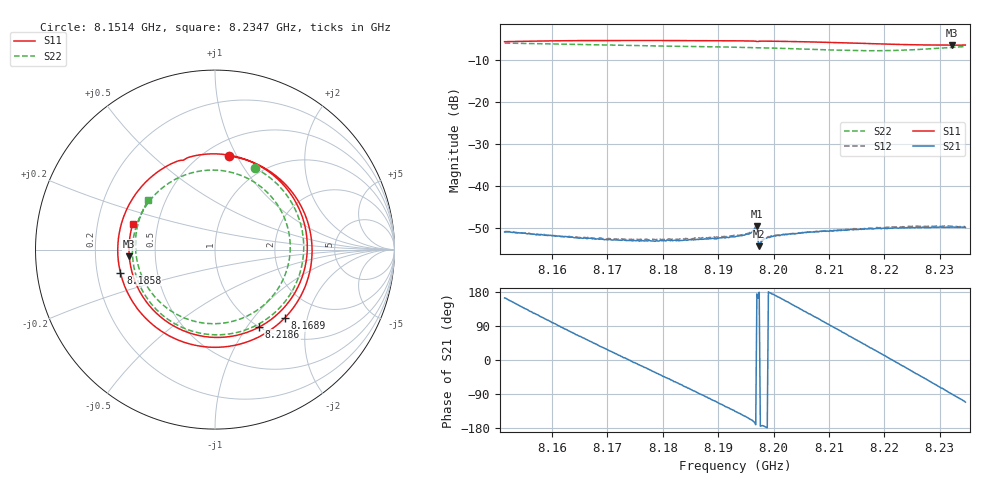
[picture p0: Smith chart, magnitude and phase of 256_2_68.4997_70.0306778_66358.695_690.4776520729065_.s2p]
#  HZ  S  RI  R  50.00
! Rohde & Schwarz Vector Network Analyzer
! Rohde-Schwarz,ZNB20-2Port,1311601062101988,3.16
! Created: UTC 3/20/2024, 5:00:03 PM
! freq[Hz]  re:S11  im:S11  re:S21  im:S21  re:S12  im:S12  re:S22  im:S22
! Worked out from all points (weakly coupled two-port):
!   401 points, 8.1514 GHz to 8.2347 GHz, reference 50 ohm
!   highest |S21| = -49.48 dB at 8.197 GHz (marker M1); lowest = -54.3 dB at 8.1974 GHz (marker M2)
!   lowest |S11| = -6.4 dB at 8.2322 GHz (marker M3), VSWR 2.84, Z = 17.6 - j1.67 ohm
!   |S11| at or under -10 dB: nowhere
!   |S22| runs from -7.7 to -5.9 dB; largest |S21 - S12| = 0.00026
!   S11 on the Smith chart (normalised r, x): 8.1514 GHz: 0.65, +0.93; 8.1689 GHz: 1.36, -1.47; 8.1858 GHz: 0.30, -0.11; 8.2186 GHz: 1.00, -1.14; 8.2347 GHz: 0.36, +0.13
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8.15141e9  0.0806 0.5205  -0.00274 0.000798  -0.00275 0.000846  0.2208 0.4551
8.158487e9  0.4655 0.2674  -0.00092 0.00245  -0.000921 0.00252  0.4831 0.1175
8.162025e9  0.5387 0.0435  0.000253 0.00249  0.000301 0.0025  0.4826 -0.0952
8.165355e9  0.5127 -0.1773  0.0012 0.00209  0.00124 0.00212  0.4014 -0.275
8.168894e9  0.3896 -0.3796  0.00193 0.00134  0.00195 0.00141  0.2477 -0.4124
8.174305e9  0.0664 -0.5405  0.00225 -0.000118  0.00234 -0.00014  -0.053 -0.4706
8.1793e9  -0.2648 -0.4752  0.00176 -0.00136  0.00181 -0.00142  -0.3063 -0.3535
8.185752e9  -0.5272 -0.1279  0.000314 -0.0023  0.00029 -0.00241  -0.4595 -0.0371
8.189291e9  -0.5283 0.117  -0.000712 -0.00226  -0.000857 -0.00234  -0.4299 0.1559
8.193037e9  -0.4109 0.3493  -0.00178 -0.00175  -0.00189 -0.00179  -0.3134 0.3267
8.196575e9  -0.208 0.4933  -0.00296 -0.000828  -0.00305 -0.000722  -0.1424 0.424
8.196991e9  -0.1782 0.4979  -0.00334 0.000322  -0.00342 0.000418  -0.1198 0.4301
8.197408e9  -0.1593 0.5088  -0.00193 3.91e-05  -0.00196 9.87e-05  -0.097 0.4353
8.201987e9  0.1615 0.5054  -0.00244 0.00102  -0.0024 0.00114  0.1584 0.4077
8.206982e9  0.4346 0.2905  -0.00132 0.00253  -0.00124 0.00255  0.3691 0.2147
8.212601e9  0.5021 -0.0953  0.000917 0.00287  0.000972 0.00289  0.3995 -0.1154
8.218637e9  0.2465 -0.4313  0.00289 0.00125  0.00301 0.00117  0.1439 -0.3852
8.220927e9  0.09 -0.4835  0.00315 0.000255  0.00326 0.000152  -0.0041 -0.4128
8.225922e9  -0.2561 -0.4097  0.00259 -0.00195  0.00258 -0.00215  -0.3106 -0.2889
8.229044e9  -0.4108 -0.2482  0.00148 -0.00289  0.00135 -0.00306  -0.423 -0.1057
8.232166e9  -0.4777 -0.0365  2.95e-05 -0.00326  -0.000159 -0.00334  -0.436 0.1112
8.234663e9  -0.4591 0.14  -0.00117 -0.00301  -0.00136 -0.003  -0.3715 0.2742
